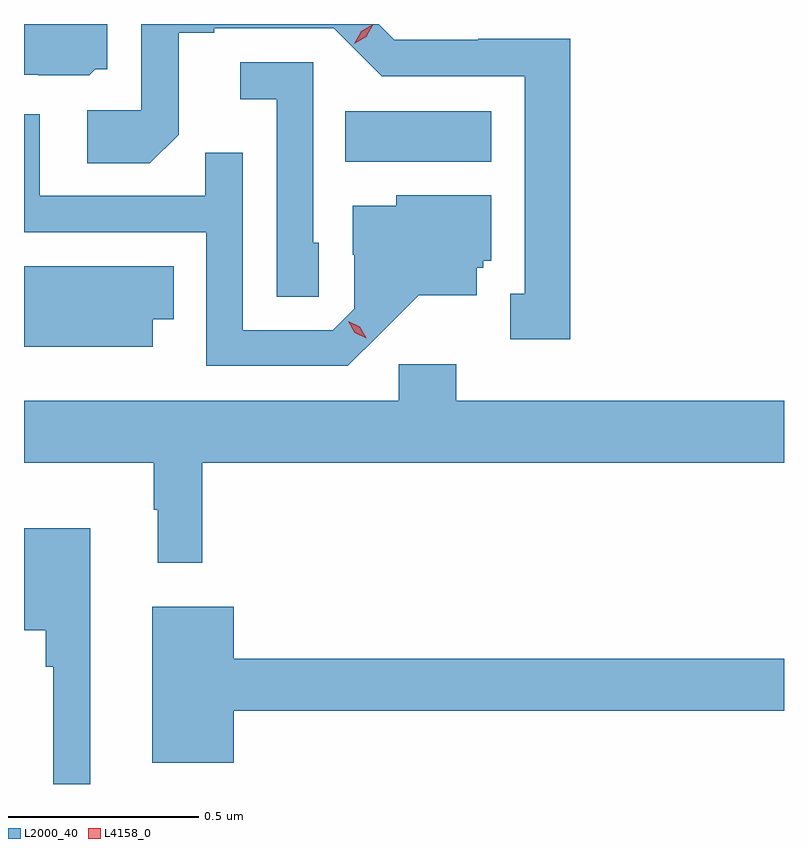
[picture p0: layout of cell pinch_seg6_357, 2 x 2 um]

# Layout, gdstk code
import gdstk
lib = gdstk.Library(unit=1e-6, precision=1e-09)
def R(c, l, rs):  # rectangles x0, y0, x1, y1
    for r in rs: c.add(gdstk.rectangle(r[:2], r[2:], *l))
def P(c, l, *ps):  # polygons
    for p in ps: c.add(gdstk.Polygon(p, *l))
L2000_40 = (2000, 40)
L4158_0 = (4158, 0)

pinch_seg6_357 = lib.new_cell('pinch_seg6_357')
R(pinch_seg6_357, L2000_40, [(737.878,938.804,738.262,938.938)])
P(pinch_seg6_357, L2000_40, [(738.469,939.128),(738.228,939.128),(738.228,939.126),(738.006,939.126),(737.965,939.167),(737.34,939.167),(737.34,938.94),(737.199,938.94),(737.199,938.8),(737.363,938.8),(737.439,938.876),(737.439,939.144),(737.533,939.144),(737.533,939.156),(737.847,939.156),(737.973,939.03),(738.35,939.03),(738.35,938.457),(738.311,938.457),(738.311,938.337),(738.469,938.337)],
  [(737.22,939.048),(737.251,939.048),(737.251,939.167),(737.032,939.167),(737.032,939.033),(737.07,939.033),(737.07,939.032),(737.204,939.032)],
  [(737.808,938.592),(737.793,938.592),(737.793,939.066),(737.601,939.066),(737.601,938.969),(737.697,938.969),(737.697,938.449),(737.808,938.449)],
  [(737.968,938.351),(738.071,938.453),(738.223,938.453),(738.223,938.526),(738.24,938.526),(738.24,938.544),(738.262,938.544),(738.262,938.716),(738.012,938.716),(738.012,938.689),(737.897,938.689),(737.897,938.56),(737.901,938.56),(737.901,938.418),(737.844,938.361),(737.607,938.361),(737.607,938.828),(737.509,938.828),(737.509,938.715),(737.073,938.715),(737.073,938.929),(737.032,938.929),(737.032,938.619),(737.511,938.619),(737.511,938.268),(737.884,938.268)],
  [(737.371,938.39),(737.426,938.39),(737.426,938.53),(737.032,938.53),(737.032,938.318),(737.371,938.318)],
  [(737.501,938.012),(739.032,938.012),(739.032,938.176),(738.17,938.176),(738.17,938.272),(738.018,938.272),(738.018,938.176),(737.032,938.176),(737.032,938.012),(737.373,938.012),(737.373,937.889),(737.384,937.889),(737.384,937.749),(737.501,937.749)],
  [(737.206,937.84),(737.032,937.84),(737.032,937.571),(737.089,937.571),(737.089,937.475),(737.109,937.475),(737.109,937.167),(737.206,937.167)],
  [(737.584,937.36),(739.032,937.36),(739.032,937.496),(737.584,937.496),(737.584,937.633),(737.369,937.633),(737.369,937.223),(737.584,937.223)])
P(pinch_seg6_357, L4158_0, [(737.901,939.115),(737.901,939.115),(737.919,939.148),(737.951,939.166),(737.951,939.166),(737.951,939.166),(737.933,939.134),(737.901,939.115)],
  [(737.933,938.34),(737.902,938.355),(737.885,938.385),(737.885,938.385),(737.885,938.385),(737.916,938.37),(737.933,938.341),(737.933,938.34)])

lib.write_gds('pinch_seg6_357.gds')
